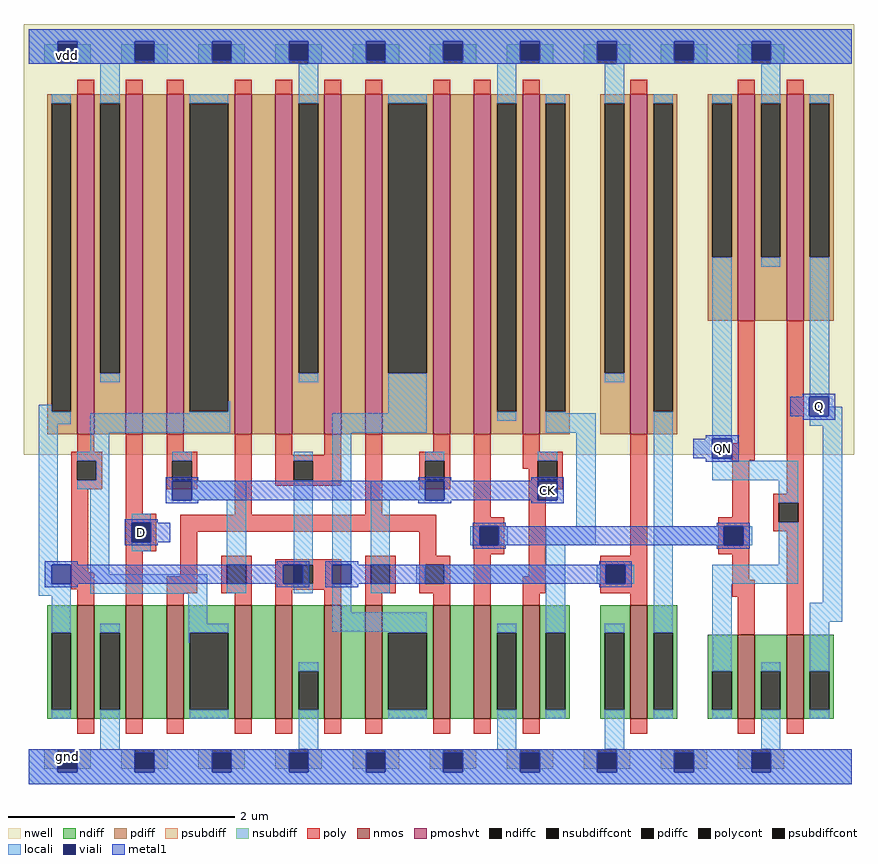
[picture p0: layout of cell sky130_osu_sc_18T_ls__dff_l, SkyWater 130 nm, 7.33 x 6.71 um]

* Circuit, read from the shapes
.subckt sky130_osu_sc_18T_ls__dff_l D Q QN CK
XM1 gnd n1 n2 gnd sky130_fd_pr__nfet_01v8 w=1 l=0.15
XM2 n3 D gnd gnd sky130_fd_pr__nfet_01v8 w=1 l=0.15
XM3 n1 n4 n3 gnd sky130_fd_pr__nfet_01v8 w=1 l=0.15
XM4 n5 CK n1 gnd sky130_fd_pr__nfet_01v8 w=1 l=0.15
XM5 gnd n2 n5 gnd sky130_fd_pr__nfet_01v8 w=1 l=0.15
XM6 n6 n2 gnd gnd sky130_fd_pr__nfet_01v8 w=1 l=0.15
XM7 n7 CK n6 gnd sky130_fd_pr__nfet_01v8 w=1 l=0.15
XM8 n8 n4 n7 gnd sky130_fd_pr__nfet_01v8 w=1 l=0.15
XM9 gnd n9 n8 gnd sky130_fd_pr__nfet_01v8 w=1 l=0.15
XM10 n4 CK gnd gnd sky130_fd_pr__nfet_01v8 w=1 l=0.15
XM11 n9 n7 gnd gnd sky130_fd_pr__nfet_01v8 w=1 l=0.15
XM12 gnd n9 QN gnd sky130_fd_pr__nfet_01v8 w=0.74 l=0.15
XM13 Q QN gnd gnd sky130_fd_pr__nfet_01v8 w=0.74 l=0.15
XM14 vdd n1 n2 vdd sky130_fd_pr__pfet_01v8_hvt w=3 l=0.15
XM15 n10 D vdd vdd sky130_fd_pr__pfet_01v8_hvt w=3 l=0.15
XM16 n1 CK n10 vdd sky130_fd_pr__pfet_01v8_hvt w=3 l=0.15
XM17 n11 n4 n1 vdd sky130_fd_pr__pfet_01v8_hvt w=3 l=0.15
XM18 vdd n2 n11 vdd sky130_fd_pr__pfet_01v8_hvt w=3 l=0.15
XM19 n12 n2 vdd vdd sky130_fd_pr__pfet_01v8_hvt w=3 l=0.15
XM20 n7 n4 n12 vdd sky130_fd_pr__pfet_01v8_hvt w=3 l=0.15
XM21 n13 CK n7 vdd sky130_fd_pr__pfet_01v8_hvt w=3 l=0.15
XM22 vdd n9 n13 vdd sky130_fd_pr__pfet_01v8_hvt w=3 l=0.15
XM23 n4 CK vdd vdd sky130_fd_pr__pfet_01v8_hvt w=3 l=0.15
XM24 n9 n7 vdd vdd sky130_fd_pr__pfet_01v8_hvt w=3 l=0.15
XM25 vdd n9 QN vdd sky130_fd_pr__pfet_01v8_hvt w=2 l=0.15
XM26 Q QN vdd vdd sky130_fd_pr__pfet_01v8_hvt w=2 l=0.15
.ends

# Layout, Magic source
magic
tech sky130A
magscale 1 2
<< nwell >>
rect -9 581 1456 1341
<< nmos >>
rect 85 115 115 315
rect 171 115 201 315
rect 243 115 273 315
rect 363 115 393 315
rect 435 115 465 315
rect 521 115 551 315
rect 593 115 623 315
rect 713 115 743 315
rect 785 115 815 315
rect 871 115 901 315
rect 1061 115 1091 315
rect 1251 115 1281 263
rect 1337 115 1367 263
<< pmoshvt >>
rect 85 617 115 1217
rect 171 617 201 1217
rect 243 617 273 1217
rect 363 617 393 1217
rect 435 617 465 1217
rect 521 617 551 1217
rect 593 617 623 1217
rect 713 617 743 1217
rect 785 617 815 1217
rect 871 617 901 1217
rect 1061 617 1091 1217
rect 1251 817 1281 1217
rect 1337 817 1367 1217
<< ndiff >>
rect 32 267 85 315
rect 32 131 40 267
rect 74 131 85 267
rect 32 115 85 131
rect 115 267 171 315
rect 115 131 126 267
rect 160 131 171 267
rect 115 115 171 131
rect 201 115 243 315
rect 273 267 363 315
rect 273 131 284 267
rect 352 131 363 267
rect 273 115 363 131
rect 393 115 435 315
rect 465 199 521 315
rect 465 131 476 199
rect 510 131 521 199
rect 465 115 521 131
rect 551 115 593 315
rect 623 267 713 315
rect 623 131 634 267
rect 702 131 713 267
rect 623 115 713 131
rect 743 115 785 315
rect 815 267 871 315
rect 815 131 826 267
rect 860 131 871 267
rect 815 115 871 131
rect 901 267 954 315
rect 901 131 912 267
rect 946 131 954 267
rect 901 115 954 131
rect 1008 267 1061 315
rect 1008 131 1016 267
rect 1050 131 1061 267
rect 1008 115 1061 131
rect 1091 267 1144 315
rect 1091 131 1102 267
rect 1136 131 1144 267
rect 1091 115 1144 131
rect 1198 199 1251 263
rect 1198 131 1206 199
rect 1240 131 1251 199
rect 1198 115 1251 131
rect 1281 199 1337 263
rect 1281 131 1292 199
rect 1326 131 1337 199
rect 1281 115 1337 131
rect 1367 199 1420 263
rect 1367 131 1378 199
rect 1412 131 1420 199
rect 1367 115 1420 131
<< pdiff >>
rect 32 1201 85 1217
rect 32 657 40 1201
rect 74 657 85 1201
rect 32 617 85 657
rect 115 1201 171 1217
rect 115 725 126 1201
rect 160 725 171 1201
rect 115 617 171 725
rect 201 617 243 1217
rect 273 1201 363 1217
rect 273 657 284 1201
rect 352 657 363 1201
rect 273 617 363 657
rect 393 617 435 1217
rect 465 1201 521 1217
rect 465 725 476 1201
rect 510 725 521 1201
rect 465 617 521 725
rect 551 617 593 1217
rect 623 1201 713 1217
rect 623 725 634 1201
rect 702 725 713 1201
rect 623 617 713 725
rect 743 617 785 1217
rect 815 1201 871 1217
rect 815 657 826 1201
rect 860 657 871 1201
rect 815 617 871 657
rect 901 1201 954 1217
rect 901 657 912 1201
rect 946 657 954 1201
rect 901 617 954 657
rect 1008 1201 1061 1217
rect 1008 725 1016 1201
rect 1050 725 1061 1201
rect 1008 617 1061 725
rect 1091 1201 1144 1217
rect 1091 657 1102 1201
rect 1136 657 1144 1201
rect 1198 1201 1251 1217
rect 1198 929 1206 1201
rect 1240 929 1251 1201
rect 1198 817 1251 929
rect 1281 1201 1337 1217
rect 1281 929 1292 1201
rect 1326 929 1337 1201
rect 1281 817 1337 929
rect 1367 1201 1420 1217
rect 1367 929 1378 1201
rect 1412 929 1420 1201
rect 1367 817 1420 929
rect 1091 617 1144 657
<< ndiffc >>
rect 40 131 74 267
rect 126 131 160 267
rect 284 131 352 267
rect 476 131 510 199
rect 634 131 702 267
rect 826 131 860 267
rect 912 131 946 267
rect 1016 131 1050 267
rect 1102 131 1136 267
rect 1206 131 1240 199
rect 1292 131 1326 199
rect 1378 131 1412 199
<< pdiffc >>
rect 40 657 74 1201
rect 126 725 160 1201
rect 284 657 352 1201
rect 476 725 510 1201
rect 634 725 702 1201
rect 826 657 860 1201
rect 912 657 946 1201
rect 1016 725 1050 1201
rect 1102 657 1136 1201
rect 1206 929 1240 1201
rect 1292 929 1326 1201
rect 1378 929 1412 1201
<< psubdiff >>
rect 27 27 51 61
rect 85 27 109 61
rect 163 27 187 61
rect 221 27 245 61
rect 299 27 323 61
rect 357 27 381 61
rect 435 27 459 61
rect 493 27 517 61
rect 571 27 595 61
rect 629 27 653 61
rect 707 27 731 61
rect 765 27 789 61
rect 843 27 867 61
rect 901 27 925 61
rect 979 27 1003 61
rect 1037 27 1061 61
rect 1115 27 1139 61
rect 1173 27 1197 61
rect 1251 27 1275 61
rect 1309 27 1333 61
<< nsubdiff >>
rect 27 1271 51 1305
rect 85 1271 109 1305
rect 163 1271 187 1305
rect 221 1271 245 1305
rect 299 1271 323 1305
rect 357 1271 381 1305
rect 435 1271 459 1305
rect 493 1271 517 1305
rect 571 1271 595 1305
rect 629 1271 653 1305
rect 707 1271 731 1305
rect 765 1271 789 1305
rect 843 1271 867 1305
rect 901 1271 925 1305
rect 979 1271 1003 1305
rect 1037 1271 1061 1305
rect 1115 1271 1139 1305
rect 1173 1271 1197 1305
rect 1251 1271 1275 1305
rect 1309 1271 1333 1305
<< psubdiffcont >>
rect 51 27 85 61
rect 187 27 221 61
rect 323 27 357 61
rect 459 27 493 61
rect 595 27 629 61
rect 731 27 765 61
rect 867 27 901 61
rect 1003 27 1037 61
rect 1139 27 1173 61
rect 1275 27 1309 61
<< nsubdiffcont >>
rect 51 1271 85 1305
rect 187 1271 221 1305
rect 323 1271 357 1305
rect 459 1271 493 1305
rect 595 1271 629 1305
rect 731 1271 765 1305
rect 867 1271 901 1305
rect 1003 1271 1037 1305
rect 1139 1271 1173 1305
rect 1275 1271 1309 1305
<< poly >>
rect 85 1217 115 1243
rect 171 1217 201 1243
rect 243 1217 273 1243
rect 363 1217 393 1243
rect 435 1217 465 1243
rect 521 1217 551 1243
rect 593 1217 623 1243
rect 713 1217 743 1243
rect 785 1217 815 1243
rect 871 1217 901 1243
rect 1061 1217 1091 1243
rect 1251 1217 1281 1243
rect 1337 1217 1367 1243
rect 85 586 115 617
rect 75 570 129 586
rect 75 536 85 570
rect 119 536 129 570
rect 75 520 129 536
rect 75 374 105 520
rect 171 477 201 617
rect 243 586 273 617
rect 243 570 297 586
rect 243 536 253 570
rect 287 536 297 570
rect 243 520 297 536
rect 171 461 225 477
rect 363 475 393 617
rect 435 580 465 617
rect 521 580 551 617
rect 435 570 551 580
rect 435 536 467 570
rect 501 536 551 570
rect 435 526 551 536
rect 593 475 623 617
rect 713 586 743 617
rect 689 570 743 586
rect 689 536 699 570
rect 733 536 743 570
rect 689 520 743 536
rect 171 427 181 461
rect 215 427 225 461
rect 171 411 225 427
rect 267 445 719 475
rect 75 344 115 374
rect 85 315 115 344
rect 171 315 201 411
rect 267 367 297 445
rect 689 403 719 445
rect 785 471 815 617
rect 871 586 901 617
rect 871 570 942 586
rect 871 556 898 570
rect 882 536 898 556
rect 932 536 942 570
rect 882 520 942 536
rect 785 455 839 471
rect 785 421 795 455
rect 829 421 839 455
rect 785 405 839 421
rect 243 337 297 367
rect 339 387 393 403
rect 339 353 349 387
rect 383 353 393 387
rect 339 337 393 353
rect 243 315 273 337
rect 363 315 393 337
rect 435 387 551 397
rect 435 353 467 387
rect 501 353 551 387
rect 435 343 551 353
rect 435 315 465 343
rect 521 315 551 343
rect 593 387 647 403
rect 593 353 603 387
rect 637 353 647 387
rect 593 337 647 353
rect 689 387 743 403
rect 689 353 699 387
rect 733 353 743 387
rect 689 337 743 353
rect 593 315 623 337
rect 713 315 743 337
rect 785 315 815 405
rect 882 367 912 520
rect 1061 403 1091 617
rect 1251 601 1281 817
rect 1241 571 1281 601
rect 1241 471 1271 571
rect 1337 512 1367 817
rect 1216 455 1271 471
rect 1216 421 1226 455
rect 1260 421 1271 455
rect 1313 496 1367 512
rect 1313 462 1323 496
rect 1357 462 1367 496
rect 1313 446 1367 462
rect 1216 405 1271 421
rect 871 337 912 367
rect 1008 387 1091 403
rect 1008 353 1018 387
rect 1052 353 1091 387
rect 1008 337 1091 353
rect 871 315 901 337
rect 1061 315 1091 337
rect 1241 360 1271 405
rect 1241 330 1281 360
rect 1251 263 1281 330
rect 1337 263 1367 446
rect 85 89 115 115
rect 171 89 201 115
rect 243 89 273 115
rect 363 89 393 115
rect 435 89 465 115
rect 521 89 551 115
rect 593 89 623 115
rect 713 89 743 115
rect 785 89 815 115
rect 871 89 901 115
rect 1061 89 1091 115
rect 1251 89 1281 115
rect 1337 89 1367 115
<< polycont >>
rect 85 536 119 570
rect 253 536 287 570
rect 467 536 501 570
rect 699 536 733 570
rect 181 427 215 461
rect 898 536 932 570
rect 795 421 829 455
rect 349 353 383 387
rect 467 353 501 387
rect 603 353 637 387
rect 699 353 733 387
rect 1226 421 1260 455
rect 1323 462 1357 496
rect 1018 353 1052 387
<< locali >>
rect 0 1311 1452 1332
rect 0 1271 51 1311
rect 85 1271 187 1311
rect 221 1271 323 1311
rect 357 1271 459 1311
rect 493 1271 595 1311
rect 629 1271 731 1311
rect 765 1271 867 1311
rect 901 1271 1003 1311
rect 1037 1271 1139 1311
rect 1173 1271 1275 1311
rect 1309 1271 1452 1311
rect 40 1201 74 1217
rect 17 657 40 669
rect 126 1201 160 1271
rect 126 709 160 725
rect 284 1201 352 1217
rect 17 635 74 657
rect 476 1201 510 1271
rect 476 709 510 725
rect 634 1201 702 1217
rect 352 657 355 675
rect 284 654 355 657
rect 634 654 702 725
rect 17 387 51 635
rect 108 620 355 654
rect 535 620 702 654
rect 826 1201 860 1271
rect 826 641 860 657
rect 912 1201 946 1217
rect 1016 1201 1050 1271
rect 1016 709 1050 725
rect 1102 1201 1136 1217
rect 912 654 946 657
rect 912 620 1000 654
rect 108 586 142 620
rect 85 570 142 586
rect 119 536 142 570
rect 85 520 142 536
rect 17 353 40 387
rect 17 332 74 353
rect 108 370 142 520
rect 253 570 287 586
rect 253 535 287 536
rect 467 570 501 586
rect 287 501 383 535
rect 181 461 215 477
rect 181 411 215 427
rect 349 387 383 501
rect 467 387 501 536
rect 108 336 315 370
rect 349 337 383 353
rect 467 337 501 353
rect 535 387 569 620
rect 699 570 733 586
rect 699 535 733 536
rect 40 267 74 332
rect 281 283 315 336
rect 535 303 569 353
rect 603 501 699 535
rect 898 570 932 586
rect 898 535 932 536
rect 603 387 637 501
rect 966 455 1000 620
rect 779 421 795 455
rect 829 421 845 455
rect 912 421 1000 455
rect 1102 455 1136 657
rect 1206 1201 1240 1217
rect 1206 609 1240 929
rect 1292 1201 1326 1271
rect 1292 913 1326 929
rect 1378 1201 1412 1217
rect 1378 683 1412 929
rect 1411 666 1412 683
rect 1411 649 1435 666
rect 1378 632 1435 649
rect 1206 570 1240 575
rect 1206 536 1357 570
rect 1323 496 1357 536
rect 1102 421 1226 455
rect 1260 421 1276 455
rect 912 387 946 421
rect 683 353 699 387
rect 733 353 946 387
rect 1002 353 1018 387
rect 1052 353 1068 387
rect 603 337 637 353
rect 40 115 74 131
rect 126 267 160 283
rect 281 267 352 283
rect 535 269 702 303
rect 281 249 284 267
rect 126 61 160 131
rect 634 267 702 269
rect 284 115 352 131
rect 476 199 510 215
rect 476 61 510 131
rect 634 115 702 131
rect 826 267 860 283
rect 826 61 860 131
rect 912 267 946 353
rect 912 115 946 131
rect 1016 267 1050 283
rect 1016 61 1050 131
rect 1102 267 1136 421
rect 1323 387 1357 462
rect 1102 115 1136 131
rect 1206 353 1357 387
rect 1206 199 1240 353
rect 1401 320 1435 632
rect 1378 286 1435 320
rect 1206 115 1240 131
rect 1292 199 1326 215
rect 1292 61 1326 131
rect 1378 199 1412 286
rect 1378 115 1412 131
rect 0 21 51 61
rect 85 21 187 61
rect 221 21 323 61
rect 357 21 459 61
rect 493 21 595 61
rect 629 21 731 61
rect 765 21 867 61
rect 901 21 1003 61
rect 1037 21 1139 61
rect 1173 21 1275 61
rect 1309 21 1452 61
rect 0 0 1452 21
<< viali >>
rect 51 1305 85 1311
rect 51 1277 85 1305
rect 187 1305 221 1311
rect 187 1277 221 1305
rect 323 1305 357 1311
rect 323 1277 357 1305
rect 459 1305 493 1311
rect 459 1277 493 1305
rect 595 1305 629 1311
rect 595 1277 629 1305
rect 731 1305 765 1311
rect 731 1277 765 1305
rect 867 1305 901 1311
rect 867 1277 901 1305
rect 1003 1305 1037 1311
rect 1003 1277 1037 1305
rect 1139 1305 1173 1311
rect 1139 1277 1173 1305
rect 1275 1305 1309 1311
rect 1275 1277 1309 1305
rect 40 353 74 387
rect 253 501 287 535
rect 181 427 215 461
rect 449 353 467 387
rect 467 353 483 387
rect 535 353 569 387
rect 699 501 733 535
rect 898 501 932 535
rect 795 421 829 455
rect 1377 649 1411 683
rect 1206 575 1240 609
rect 1226 421 1260 455
rect 1018 353 1052 387
rect 51 27 85 55
rect 51 21 85 27
rect 187 27 221 55
rect 187 21 221 27
rect 323 27 357 55
rect 323 21 357 27
rect 459 27 493 55
rect 459 21 493 27
rect 595 27 629 55
rect 595 21 629 27
rect 731 27 765 55
rect 731 21 765 27
rect 867 27 901 55
rect 867 21 901 27
rect 1003 27 1037 55
rect 1003 21 1037 27
rect 1139 27 1173 55
rect 1139 21 1173 27
rect 1275 27 1309 55
rect 1275 21 1309 27
<< metal1 >>
rect 0 1311 1452 1332
rect 0 1277 51 1311
rect 85 1277 187 1311
rect 221 1277 323 1311
rect 357 1277 459 1311
rect 493 1277 595 1311
rect 629 1277 731 1311
rect 765 1277 867 1311
rect 901 1277 1003 1311
rect 1037 1277 1139 1311
rect 1173 1277 1275 1311
rect 1309 1277 1452 1311
rect 0 1271 1452 1277
rect 1365 683 1423 689
rect 1343 649 1377 683
rect 1411 649 1423 683
rect 1365 643 1423 649
rect 1194 609 1252 615
rect 1172 575 1206 609
rect 1240 575 1252 609
rect 1194 569 1252 575
rect 241 535 299 541
rect 687 535 745 541
rect 886 535 944 541
rect 241 501 253 535
rect 287 501 699 535
rect 733 501 898 535
rect 932 501 944 535
rect 241 495 299 501
rect 687 495 745 501
rect 886 495 944 501
rect 169 461 227 467
rect 169 427 181 461
rect 215 427 249 461
rect 783 455 841 461
rect 1214 455 1272 461
rect 169 421 227 427
rect 783 421 795 455
rect 829 421 1226 455
rect 1260 421 1272 455
rect 783 415 841 421
rect 1214 415 1272 421
rect 28 387 86 393
rect 437 387 495 393
rect 28 353 40 387
rect 74 353 449 387
rect 483 353 495 387
rect 28 347 86 353
rect 437 347 495 353
rect 523 387 581 393
rect 1006 387 1064 393
rect 523 353 535 387
rect 569 353 1018 387
rect 1052 353 1064 387
rect 523 347 581 353
rect 1006 347 1064 353
rect 0 55 1452 61
rect 0 21 51 55
rect 85 21 187 55
rect 221 21 323 55
rect 357 21 459 55
rect 493 21 595 55
rect 629 21 731 55
rect 765 21 867 55
rect 901 21 1003 55
rect 1037 21 1139 55
rect 1173 21 1275 55
rect 1309 21 1452 55
rect 0 0 1452 21
<< labels >>
rlabel metal1 198 444 198 444 1 D
port 1 n
rlabel metal1 1394 666 1394 666 1 Q
port 2 n
rlabel metal1 1224 592 1224 592 1 QN
port 3 n
rlabel metal1 915 518 915 518 1 CK
port 4 n
rlabel viali 68 49 68 49 1 gnd
rlabel viali 68 1285 68 1285 1 vdd
<< end >>
